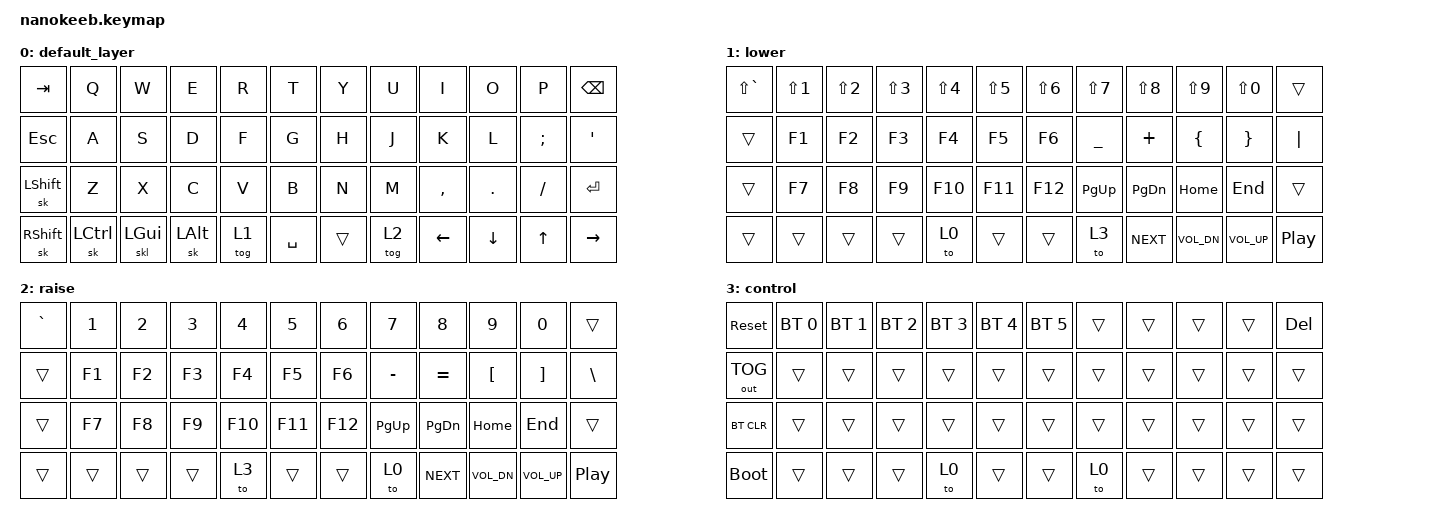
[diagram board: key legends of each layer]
/*
 * Copyright (c) 2020 The ZMK Contributors
 *
 * SPDX-License-Identifier: MIT
 */

#include <behaviors.dtsi>
#include <dt-bindings/zmk/keys.h>
#include <dt-bindings/zmk/bt.h>
#include <dt-bindings/zmk/outputs.h>

/ {
	behaviors {
        td_mt: tap_dance_mod_tap {
			compatible = "zmk,behavior-tap-dance";
			#binding-cells = <0>;
			tapping-term-ms = <200>;
			display-name = "Tap Dance Mod Toggle On";
			bindings = <&off_mod_tap LSHIFT>, <&kt_on LSHIFT>;
		};

		mt: mod_tap {
            compatible = "zmk,behavior-hold-tap";
            #binding-cells = <2>;
            flavor = "hold-preferred";
            tapping-term-ms = <200>;
            bindings = <&kt_on>, <&sk>;
            display-name = "Mod-Tap";
        };

		kt_on: key_toggle_on_only {
			compatible = "zmk,behavior-key-toggle";
			#binding-cells = <1>;
			display-name = "Key Toggle On";
			toggle-mode = "on";	
		};

		kt_off: key_toggle_off_only {
			compatible = "zmk,behavior-key-toggle";
			#binding-cells = <1>;
			display-name = "Key Toggle Off";
			toggle-mode = "off";
		};

		skl: sticky_key_lazy {
			compatible = "zmk,behavior-sticky-key";
			#binding-cells = <1>;
			bindings = <&kp>;
			release-after-ms = <1000>;
			lazy;
			quick-release;
			ignore-modifiers;
		};
    };

	macros {
		off_mod_tap: toggle_off_mod_tap {
            compatible = "zmk,behavior-macro-one-param";
            #binding-cells = <1>;
			bindings
				= <&macro_param_1to1>
				, <&kt_off MACRO_PLACEHOLDER>

				//, <&macro_param_1to1>
				//, <&macro_param_1to2>
				//, <&mt MACRO_PLACEHOLDER MACRO_PLACEHOLDER>


				, <&macro_param_1to1>
				, <&sk MACRO_PLACEHOLDER>

				;
        };
    };
};

/ {
	keymap {
		compatible = "zmk,keymap";

		default_layer {
			//  ----------------------------------------------------------------------------------------------------------------------
			// | TAB      |  Q       |  W      |  E      |  R   | T        | Y        | U    | I        | O      | P       | BSPC     |
            // | ESC      |  A       |  S      |  D      |  F   | G        | H        | J    | K        | L      | ;       | '        |
            // | SHIFT    |  Z       |  X      |  C      |  V   | B        | N        | M    | ,        | .      | /       | RETURN   |
            // | CTRL+B   | LCTL     | LGUI    | LALT    | LOWR |        SPACE        | RAIS | LEFT     | DOWN   | UP      | RIGHT    |
			//  ----------------------------------------------------------------------------------------------------------------------
			bindings = <
				&kp TAB    &kp Q      &kp W      &kp E     &kp R   &kp T      &kp Y   &kp U   &kp I      &kp O     &kp P     &kp BSPC
                &kp ESC    &kp A      &kp S      &kp D     &kp F   &kp G      &kp H   &kp J   &kp K      &kp L     &kp SEMI  &kp SQT
                &sk LSHFT  &kp Z      &kp X      &kp C     &kp V   &kp B      &kp N   &kp M   &kp COMMA  &kp DOT   &kp FSLH  &kp RET
                &sk RSHFT  &sk LCTRL  &skl LGUI  &sk LALT  &tog 1  &kp SPACE  &trans  &tog 2  &kp LEFT   &kp DOWN  &kp UP    &kp RIGHT
			>;
		};

		lower {
			bindings = <
				&kp LS(GRAVE)  &kp LS(N1)  &kp LS(N2)  &kp LS(N3)  &kp LS(N4)  &kp LS(N5)  &kp LS(N6)  &kp LS(N7)    &kp LS(N8)    &kp LS(N9)    &kp LS(N0)    &trans
                &trans         &kp F1      &kp F2      &kp F3      &kp F4      &kp F5      &kp F6      &kp UNDER     &kp PLUS      &kp LBRC      &kp RBRC      &kp PIPE
                &trans         &kp F7      &kp F8      &kp F9      &kp F10     &kp F11     &kp F12     &kp PG_UP     &kp PG_DN     &kp HOME      &kp END       &trans
                &trans         &trans      &trans      &trans      &to 0       &trans      &trans      &to 3         &kp C_NEXT    &kp C_VOL_DN  &kp C_VOL_UP  &kp C_PP
			>;
		};

		raise {
			bindings = <
				&kp GRAVE  &kp N1  &kp N2  &kp N3  &kp N4   &kp N5   &kp N6   &kp N7     &kp N8      &kp N9        &kp N0        &trans
                &trans     &kp F1  &kp F2  &kp F3  &kp F4   &kp F5   &kp F6   &kp MINUS  &kp EQUAL   &kp LBKT      &kp RBKT      &kp BSLH
                &trans     &kp F7  &kp F8  &kp F9  &kp F10  &kp F11  &kp F12  &kp PG_UP  &kp PG_DN   &kp HOME      &kp END       &trans
                &trans     &trans  &trans  &trans  &to 3    &trans   &trans   &to 0      &kp C_NEXT  &kp C_VOL_DN  &kp C_VOL_UP  &kp C_PP
			>;
		};
		
		control {
			bindings = <
				&sys_reset    &bt BT_SEL 0  &bt BT_SEL 1  &bt BT_SEL 2  &bt BT_SEL 3  &bt BT_SEL 4  &bt BT_SEL 5  &trans  &trans  &trans  &trans  &kp DEL
                &out OUT_TOG  &trans        &trans        &trans        &trans        &trans        &trans        &trans  &trans  &trans  &trans  &trans
                &bt BT_CLR    &trans        &trans        &trans        &trans        &trans        &trans        &trans  &trans  &trans  &trans  &trans
                &bootloader   &trans        &trans        &trans        &to 0         &trans        &trans        &to 0   &trans  &trans  &trans  &trans
			>;
		};
	};
};
